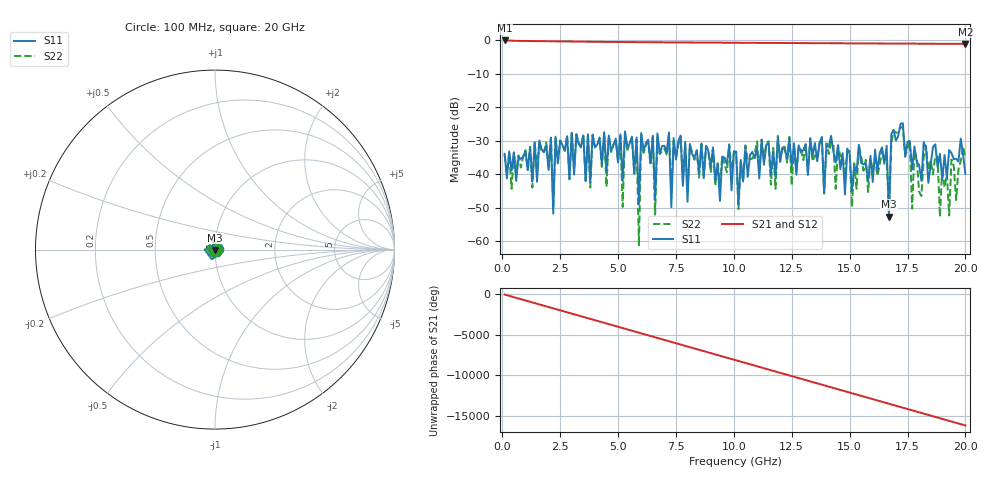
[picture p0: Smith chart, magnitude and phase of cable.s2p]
! File created by SignalIntegrity v1.1.10: Signal and Power Integrity Tools
! https://github.com/TeledyneLeCroy/SignalIntegrity
# MHz S MA R 50.0
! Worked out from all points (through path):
!   200 points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, 100 MHz to 20 GHz, reference 50 ohm
!   highest |S21| = -0.06 dB at 100 MHz (marker M1); lowest = -1.1 dB at 20 GHz (marker M2)
!   lowest |S11| = -52.6 dB at 16.7 GHz (marker M3), VSWR 1.00, Z = 50 - j0.233 ohm
!   |S11| at or under -10 dB: start of sweep to end of sweep
!   |S22| runs from -61.4 to -25.8 dB; largest |S21 - S12| = 0.002
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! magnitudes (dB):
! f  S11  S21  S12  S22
! 100 MHz  -33.9  -0.1  -0.1  -34.1
! 2.1 GHz  -29.1  -0.3  -0.3  -29.1
! 2.2 GHz  -51.8  -0.3  -0.3  -49.6
! 2.3 GHz  -28.8  -0.3  -0.3  -29.1
! 3.5 GHz  -28.4  -0.4  -0.4  -28.1
! 5.1 GHz  -28.1  -0.5  -0.5  -28.5
! 5.2 GHz  -42.0  -0.5  -0.5  -49.7
! 5.3 GHz  -27.2  -0.5  -0.5  -27.4
! 5.8 GHz  -29.0  -0.6  -0.6  -29.7
! 5.9 GHz  -49.0  -0.6  -0.6  -61.4
! 6 GHz  -27.7  -0.6  -0.6  -28.1
! 6.5 GHz  -28.5  -0.6  -0.6  -28.8
! 6.6 GHz  -47.7  -0.6  -0.6  -52.0
! 6.8 GHz  -33.9  -0.6  -0.6  -33.9
! 10.1 GHz  -33.2  -0.7  -0.7  -33.5
! 13.4 GHz  -34.5  -0.9  -0.9  -36.1
! 16.6 GHz  -31.5  -1.0  -1.0  -34.7
! 16.7 GHz  -52.6  -1.0  -1.0  -51.9
! 16.8 GHz  -28.0  -1.0  -1.0  -30.8
! 17.2 GHz  -24.9  -1.0  -1.0  -25.8
! 17.7 GHz  -38.5  -1.0  -1.0  -50.3
! 20 GHz  -39.9  -1.1  -1.1  -35.2
